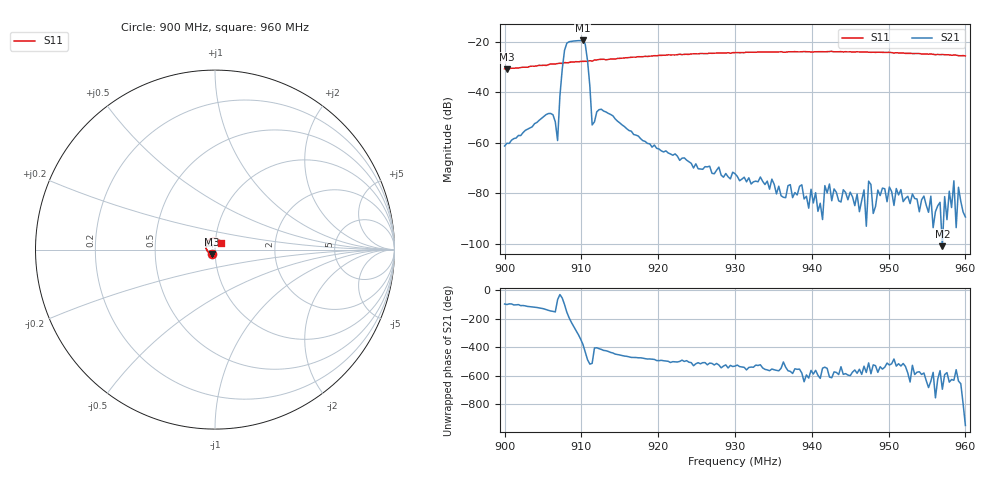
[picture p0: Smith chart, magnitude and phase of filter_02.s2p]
!File created by NanoVNA-F V2
# Hz S RI R 50
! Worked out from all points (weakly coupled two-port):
!   201 points, 900 MHz to 960 MHz, reference 50 ohm
!   highest |S21| = -19.35 dB at 910.2 MHz (marker M1); lowest = -101.0 dB at 957 MHz (marker M2)
!   lowest |S11| = -30.8 dB at 900.3 MHz (marker M3), VSWR 1.06, Z = 48.5 - j2.4 ohm
!   |S11| at or under -10 dB: start of sweep to end of sweep
!   S12 and S22 are empty: the file has one direction only
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9e8  -0.0142 -0.0258  -9e-05 -0.000864  0 0  0 0
9.003e8  -0.0151 -0.0247  -0.000163 -0.000971  0 0  0 0
9.057e8  -0.0294 -0.0198  -0.00294 -0.00244  0 0  0 0
9.063e8  -0.0316 -0.0187  -0.00305 -0.00194  0 0  0 0
9.069e8  -0.0334 -0.0169  0.000461 -0.00102  0 0  0 0
9.072e8  -0.0337 -0.0175  0.00741 -0.00421  0 0  0 0
9.078e8  -0.036 -0.0159  -0.0114 -0.0675  0 0  0 0
9.102e8  -0.0401 -0.0101  0.1019 -0.035  0 0  0 0
9.108e8  -0.0406 -0.00897  -0.0255 -0.034  0 0  0 0
9.114e8  -0.0412 -0.0076  -0.002 -0.00108  0 0  0 0
9.126e8  -0.0452 -0.00422  0.00271 -0.00378  0 0  0 0
9.201e8  -0.0515 0.0179  -0.000516 -0.000555  0 0  0 0
9.3e8  -0.0412 0.0461  -0.000242 -3.7e-05  0 0  0 0
9.348e8  -0.0307 0.0555  -0.000187 3.9e-05  0 0  0 0
9.354e8  -0.0302 0.0562  -9.1e-05 3.5e-05  0 0  0 0
9.402e8  -0.0143 0.0621  -4.4e-05 4.7e-05  0 0  0 0
9.501e8  0.0132 0.0613  -0.000128 -3.8e-05  0 0  0 0
9.57e8  0.0313 0.0474  8e-06 4e-06  0 0  0 0
9.582e8  0.0321 0.0445  -4e-06 5.2e-05  0 0  0 0
9.585e8  0.0349 0.0428  2e-06 0.000177  0 0  0 0
9.588e8  0.0339 0.0435  -2e-05 6e-06  0 0  0 0
9.6e8  0.036 0.0392  -2.3e-05 2.5e-05  0 0  0 0
